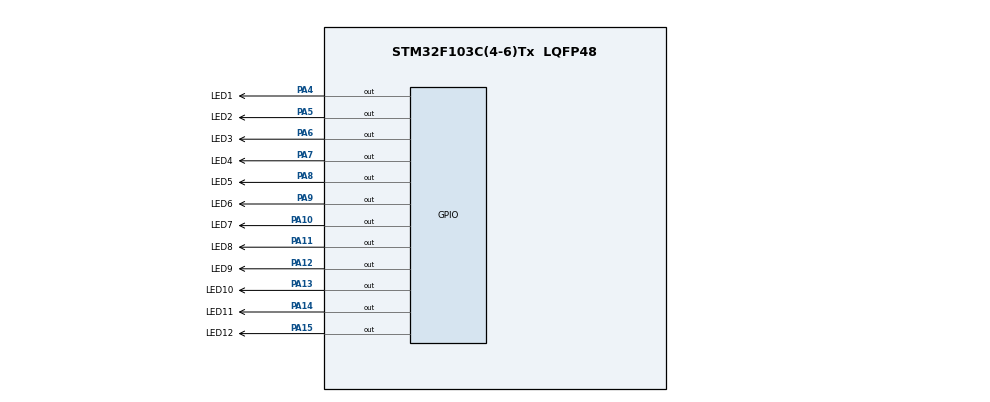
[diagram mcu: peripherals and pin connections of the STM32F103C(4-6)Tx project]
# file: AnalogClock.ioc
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Mcu.Family=STM32F1
Mcu.Name=STM32F103C(4-6)Tx
Mcu.Package=LQFP48
NVIC.PriorityGroup=NVIC_PRIORITYGROUP_4
PA10.GPIO_Label=LED7
PA10.Signal=GPIO_Output
PA11.GPIO_Label=LED8
PA11.Signal=GPIO_Output
PA12.GPIO_Label=LED9
PA12.Signal=GPIO_Output
PA13.GPIO_Label=LED10
PA13.Signal=GPIO_Output
PA14.GPIO_Label=LED11
PA14.Signal=GPIO_Output
PA15.GPIO_Label=LED12
PA15.Signal=GPIO_Output
PA4.GPIO_Label=LED1
PA4.Signal=GPIO_Output
PA5.GPIO_Label=LED2
PA5.Signal=GPIO_Output
PA6.GPIO_Label=LED3
PA6.Signal=GPIO_Output
PA7.GPIO_Label=LED4
PA7.Signal=GPIO_Output
PA8.GPIO_Label=LED5
PA8.Signal=GPIO_Output
PA9.GPIO_Label=LED6
PA9.Signal=GPIO_Output
ProjectManager.HeapSize=0x200
ProjectManager.StackSize=0x400
ProjectManager.TargetToolchain=STM32CubeIDE
RCC.APB1Freq_Value=8000000
RCC.APB2Freq_Value=8000000
VP_SYS_VS_ND.Mode=No_Debug
board=custom

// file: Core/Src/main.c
/* USER CODE BEGIN Header */
/**
  ******************************************************************************
  * @file           : main.c
  * @brief          : Main program body
  ******************************************************************************
  * @attention
  *
  * Copyright (c) 2023 STMicroelectronics.
  * All rights reserved.
  *
  * This software is licensed under terms that can be found in the LICENSE file
  * in the root directory of this software component.
  * If no LICENSE file comes with this software, it is provided AS-IS.
  *
  ******************************************************************************
  */
/* USER CODE END Header */
#include "main.h"

void SystemClock_Config(void);
static void MX_GPIO_Init(void);
/* USER CODE BEGIN PFP */
void clearAllClock();
void setNumberOnClock(int num);
void clearNumberOnClock(int num);
/* USER CODE END PFP */

/* USER CODE BEGIN 0 */
int n_sec = 0;
int n_min = 0;
int n_hour = 6;

int c_sec = 2;
int c_blink_min = 10;
int sw_min = 0;
/* USER CODE END 0 */

int main(void)
{

  /* MCU Configuration--------------------------------------------------------*/

  /* Reset of all peripherals, Initializes the Flash interface and the Systick. */
  HAL_Init();

  /* Configure the system clock */
  SystemClock_Config();

  /* Initialize all configured peripherals */
  MX_GPIO_Init();
  /* USER CODE BEGIN 2 */
  clearAllClock();
  /* USER CODE END 2 */

  /* Infinite loop */
  /* USER CODE BEGIN WHILE */
  while (1)
  {
	  if (n_sec >= 60)
	  {
		  n_sec = 0;
		  n_min++;
		  if (n_min >= 60)
		  {
			  n_min = 0;
			  clearNumberOnClock(n_hour);
			  n_hour++;
			  if (n_hour >= 12)
			  {
				  n_hour = 0;
			  }
		  }
	  }
	  if (c_sec <= 0)
	  {
		  n_sec++;
		  c_sec = 2;
	  }

	  if (n_sec % 5 == 0)
	  {
		  if (n_sec / 5 == 0) clearNumberOnClock(11);
		  else clearNumberOnClock(n_sec / 5 - 1);
		  setNumberOnClock(n_sec / 5);
	  }

	  setNumberOnClock(n_hour);

	  if (c_blink_min <= 0)
	  {
		  switch (sw_min)
		  {
		  	  case 0:
		  		  setNumberOnClock(n_min / 5);
		  		  sw_min = 1;
		  		  break;
		  	  case 1:
				  clearNumberOnClock(n_min / 5);
				  sw_min = 0;
				  break;
		  }
		  c_blink_min = 10;
	  }

	  c_blink_min--;
	  c_sec--;

	  HAL_Delay(10);
    /* USER CODE END WHILE */

  }
}

void SystemClock_Config(void)
{
  RCC_OscInitTypeDef RCC_OscInitStruct = {0};
  RCC_ClkInitTypeDef RCC_ClkInitStruct = {0};

  /** Initializes the RCC Oscillators according to the specified parameters
  * in the RCC_OscInitTypeDef structure.
  */
  RCC_OscInitStruct.OscillatorType = RCC_OSCILLATORTYPE_HSI;
  RCC_OscInitStruct.HSIState = RCC_HSI_ON;
  RCC_OscInitStruct.HSICalibrationValue = RCC_HSICALIBRATION_DEFAULT;
  RCC_OscInitStruct.PLL.PLLState = RCC_PLL_NONE;
  if (HAL_RCC_OscConfig(&RCC_OscInitStruct) != HAL_OK)
  {
    Error_Handler();
  }

  /** Initializes the CPU, AHB and APB buses clocks
  */
  RCC_ClkInitStruct.ClockType = RCC_CLOCKTYPE_HCLK|RCC_CLOCKTYPE_SYSCLK
                              |RCC_CLOCKTYPE_PCLK1|RCC_CLOCKTYPE_PCLK2;
  RCC_ClkInitStruct.SYSCLKSource = RCC_SYSCLKSOURCE_HSI;
  RCC_ClkInitStruct.AHBCLKDivider = RCC_SYSCLK_DIV1;
  RCC_ClkInitStruct.APB1CLKDivider = RCC_HCLK_DIV1;
  RCC_ClkInitStruct.APB2CLKDivider = RCC_HCLK_DIV1;

  if (HAL_RCC_ClockConfig(&RCC_ClkInitStruct, FLASH_LATENCY_0) != HAL_OK)
  {
    Error_Handler();
  }
}

static void MX_GPIO_Init(void)
{
  GPIO_InitTypeDef GPIO_InitStruct = {0};

  /* GPIO Ports Clock Enable */
  __HAL_RCC_GPIOA_CLK_ENABLE();

  /*Configure GPIO pin Output Level */
  HAL_GPIO_WritePin(GPIOA, LED1_Pin|LED2_Pin|LED3_Pin|LED4_Pin
                          |LED5_Pin|LED6_Pin|LED7_Pin|LED8_Pin
                          |LED9_Pin|LED10_Pin|LED11_Pin|LED12_Pin, GPIO_PIN_RESET);

  /*Configure GPIO pins : LED1_Pin LED2_Pin LED3_Pin LED4_Pin
                           LED5_Pin LED6_Pin LED7_Pin LED8_Pin
                           LED9_Pin LED10_Pin LED11_Pin LED12_Pin */
  GPIO_InitStruct.Pin = LED1_Pin|LED2_Pin|LED3_Pin|LED4_Pin
                          |LED5_Pin|LED6_Pin|LED7_Pin|LED8_Pin
                          |LED9_Pin|LED10_Pin|LED11_Pin|LED12_Pin;
  GPIO_InitStruct.Mode = GPIO_MODE_OUTPUT_PP;
  GPIO_InitStruct.Pull = GPIO_NOPULL;
  GPIO_InitStruct.Speed = GPIO_SPEED_FREQ_LOW;
  HAL_GPIO_Init(GPIOA, &GPIO_InitStruct);

}

/* USER CODE BEGIN 4 */
void clearAllClock()
{
	HAL_GPIO_WritePin(LED1_GPIO_Port, LED1_Pin, GPIO_PIN_SET);
	HAL_GPIO_WritePin(LED2_GPIO_Port, LED2_Pin, GPIO_PIN_SET);
	HAL_GPIO_WritePin(LED3_GPIO_Port, LED3_Pin, GPIO_PIN_SET);
	HAL_GPIO_WritePin(LED4_GPIO_Port, LED4_Pin, GPIO_PIN_SET);
	HAL_GPIO_WritePin(LED5_GPIO_Port, LED5_Pin, GPIO_PIN_SET);
	HAL_GPIO_WritePin(LED6_GPIO_Port, LED6_Pin, GPIO_PIN_SET);
	HAL_GPIO_WritePin(LED7_GPIO_Port, LED7_Pin, GPIO_PIN_SET);
	HAL_GPIO_WritePin(LED8_GPIO_Port, LED8_Pin, GPIO_PIN_SET);
	HAL_GPIO_WritePin(LED9_GPIO_Port, LED9_Pin, GPIO_PIN_SET);
	HAL_GPIO_WritePin(LED10_GPIO_Port, LED10_Pin, GPIO_PIN_SET);
	HAL_GPIO_WritePin(LED11_GPIO_Port, LED11_Pin, GPIO_PIN_SET);
	HAL_GPIO_WritePin(LED12_GPIO_Port, LED12_Pin, GPIO_PIN_SET);
}

void setNumberOnClock(int num)
{
	switch(num)
	{
		case 0:
			HAL_GPIO_WritePin(LED12_GPIO_Port, LED12_Pin, GPIO_PIN_RESET);
			break;
		case 1:
			HAL_GPIO_WritePin(LED1_GPIO_Port, LED1_Pin, GPIO_PIN_RESET);
			break;
		case 2:
			HAL_GPIO_WritePin(LED2_GPIO_Port, LED2_Pin, GPIO_PIN_RESET);
			break;
		case 3:
			HAL_GPIO_WritePin(LED3_GPIO_Port, LED3_Pin, GPIO_PIN_RESET);
			break;
		case 4:
			HAL_GPIO_WritePin(LED4_GPIO_Port, LED4_Pin, GPIO_PIN_RESET);
			break;
		case 5:
			HAL_GPIO_WritePin(LED5_GPIO_Port, LED5_Pin, GPIO_PIN_RESET);
			break;
		case 6:
			HAL_GPIO_WritePin(LED6_GPIO_Port, LED6_Pin, GPIO_PIN_RESET);
			break;
		case 7:
			HAL_GPIO_WritePin(LED7_GPIO_Port, LED7_Pin, GPIO_PIN_RESET);
			break;
		case 8:
			HAL_GPIO_WritePin(LED8_GPIO_Port, LED8_Pin, GPIO_PIN_RESET);
			break;
		case 9:
			HAL_GPIO_WritePin(LED9_GPIO_Port, LED9_Pin, GPIO_PIN_RESET);
			break;
		case 10:
			HAL_GPIO_WritePin(LED10_GPIO_Port, LED10_Pin, GPIO_PIN_RESET);
			break;
		case 11:
			HAL_GPIO_WritePin(LED11_GPIO_Port, LED11_Pin, GPIO_PIN_RESET);
			break;
	}
}

void clearNumberOnClock(int num)
{
	switch(num)
	{
		case 0:
			HAL_GPIO_WritePin(LED12_GPIO_Port, LED12_Pin, GPIO_PIN_SET);
			break;
		case 1:
			HAL_GPIO_WritePin(LED1_GPIO_Port, LED1_Pin, GPIO_PIN_SET);
			break;
		case 2:
			HAL_GPIO_WritePin(LED2_GPIO_Port, LED2_Pin, GPIO_PIN_SET);
			break;
		case 3:
			HAL_GPIO_WritePin(LED3_GPIO_Port, LED3_Pin, GPIO_PIN_SET);
			break;
		case 4:
			HAL_GPIO_WritePin(LED4_GPIO_Port, LED4_Pin, GPIO_PIN_SET);
			break;
		case 5:
			HAL_GPIO_WritePin(LED5_GPIO_Port, LED5_Pin, GPIO_PIN_SET);
			break;
		case 6:
			HAL_GPIO_WritePin(LED6_GPIO_Port, LED6_Pin, GPIO_PIN_SET);
			break;
		case 7:
			HAL_GPIO_WritePin(LED7_GPIO_Port, LED7_Pin, GPIO_PIN_SET);
			break;
		case 8:
			HAL_GPIO_WritePin(LED8_GPIO_Port, LED8_Pin, GPIO_PIN_SET);
			break;
		case 9:
			HAL_GPIO_WritePin(LED9_GPIO_Port, LED9_Pin, GPIO_PIN_SET);
			break;
		case 10:
			HAL_GPIO_WritePin(LED10_GPIO_Port, LED10_Pin, GPIO_PIN_SET);
			break;
		case 11:
			HAL_GPIO_WritePin(LED11_GPIO_Port, LED11_Pin, GPIO_PIN_SET);
			break;
	}
}
/* USER CODE END 4 */

void Error_Handler(void)
{
  __disable_irq();
  while (1)
  {
  }
}
